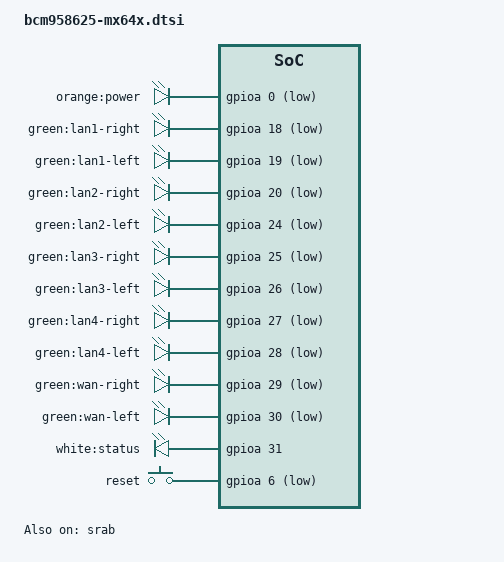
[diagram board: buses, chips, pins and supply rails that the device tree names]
// SPDX-License-Identifier: GPL-2.0-or-later OR MIT
/*
 * Device Tree Bindings for Cisco Meraki MX64 series (Kingpin).
 *
 * Copyright (C) 2021 Matthew Hagan <mnhagan88@gmail.com>
 */

#include "bcm958625-mx6x-common.dtsi"

#include <dt-bindings/input/input.h>

/ {
	leds {
		compatible = "gpio-leds";

		orange_power {
			label = "orange:power";
			gpios = <&gpioa 0 GPIO_ACTIVE_LOW>;
			default-state = "on";
		};

		lan1_right {
			label = "green:lan1-right";
			gpios = <&gpioa 18 GPIO_ACTIVE_LOW>;
		};

		lan1_left {
			label = "green:lan1-left";
			gpios = <&gpioa 19 GPIO_ACTIVE_LOW>;
		};

		lan2_right {
			label = "green:lan2-right";
			gpios = <&gpioa 20 GPIO_ACTIVE_LOW>;
		};

		lan2_left {
			label = "green:lan2-left";
			gpios = <&gpioa 24 GPIO_ACTIVE_LOW>;
		};

		lan3_right {
			label = "green:lan3-right";
			gpios = <&gpioa 25 GPIO_ACTIVE_LOW>;
		};

		lan3_left {
			label = "green:lan3-left";
			gpios = <&gpioa 26 GPIO_ACTIVE_LOW>;
		};

		lan4_right {
			label = "green:lan4-right";
			gpios = <&gpioa 27 GPIO_ACTIVE_LOW>;
		};

		lan4_left {
			label = "green:lan4-left";
			gpios = <&gpioa 28 GPIO_ACTIVE_LOW>;
		};

		wan_right {
			label = "green:wan-right";
			gpios = <&gpioa 29 GPIO_ACTIVE_LOW>;
		};

		wan_left {
			label = "green:wan-left";
			gpios = <&gpioa 30 GPIO_ACTIVE_LOW>;
		};

		white_status {
			label = "white:status";
			gpios = <&gpioa 31 GPIO_ACTIVE_HIGH>;
		};
	};

	keys {
		compatible = "gpio-keys-polled";
		autorepeat;
		poll-interval = <20>;

		reset {
			label = "reset";
			linux,code = <KEY_RESTART>;
			gpios = <&gpioa 6 GPIO_ACTIVE_LOW>;
		};
	};
};

&srab {
	compatible = "brcm,bcm58625-srab", "brcm,nsp-srab";
	status = "okay";

	ports {
		#address-cells = <1>;
		#size-cells = <0>;

		port@0 {
			label = "lan1";
			reg = <0>;
		};

		port@1 {
			label = "lan2";
			reg = <1>;
		};

		port@2 {
			label = "lan3";
			reg = <2>;
		};

		port@3 {
			label = "lan4";
			reg = <3>;
		};

		port@4 {
			label = "wan";
			reg = <4>;
		};

		port@8 {
			ethernet = <&amac2>;
			label = "cpu";
			reg = <8>;
			fixed-link {
				speed = <1000>;
				full-duplex;
			};
		};
	};
};
